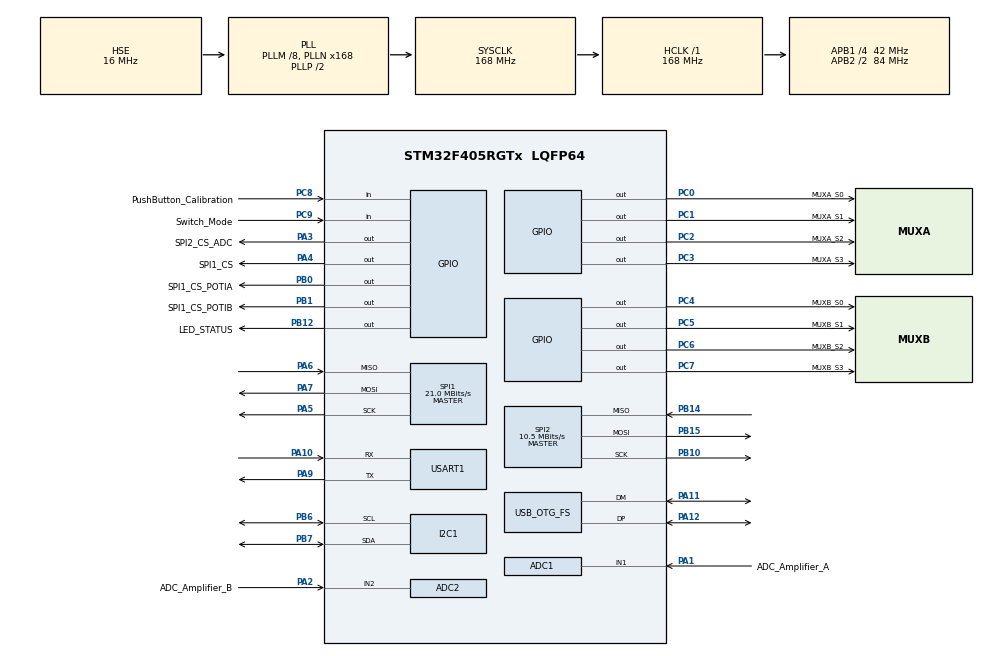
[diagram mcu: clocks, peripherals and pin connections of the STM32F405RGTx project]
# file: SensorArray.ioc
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ADC1.Channel-0\#ChannelRegularConversion=ADC_CHANNEL_1
ADC1.ClockPrescaler=ADC_CLOCK_SYNC_PCLK_DIV4
ADC1.NbrOfConversionFlag=1
ADC1.Rank-0\#ChannelRegularConversion=1
ADC1.SamplingTime-0\#ChannelRegularConversion=ADC_SAMPLETIME_3CYCLES
ADC1.master=1
ADC2.Channel-0\#ChannelRegularConversion=ADC_CHANNEL_2
ADC2.ClockPrescaler=ADC_CLOCK_SYNC_PCLK_DIV4
ADC2.NbrOfConversionFlag=1
ADC2.Rank-0\#ChannelRegularConversion=1
ADC2.SamplingTime-0\#ChannelRegularConversion=ADC_SAMPLETIME_3CYCLES
Mcu.Family=STM32F4
Mcu.Name=STM32F405RGTx
Mcu.Package=LQFP64
NVIC.OTG_FS_IRQn=true\:0\:0\:false\:false\:true\:false\:true
NVIC.PriorityGroup=NVIC_PRIORITYGROUP_4
PA1.GPIO_Label=ADC_Amplifier_A
PA1.Signal=ADCx_IN1
PA10.Mode=Asynchronous
PA10.Signal=USART1_RX
PA11.GPIO_Mode=GPIO_MODE_AF_PP
PA11.GPIO_PuPd=GPIO_NOPULL
PA11.GPIO_Speed=GPIO_SPEED_FREQ_VERY_HIGH
PA11.Mode=Device_Only
PA11.Signal=USB_OTG_FS_DM
PA12.GPIO_Mode=GPIO_MODE_AF_PP
PA12.GPIO_PuPd=GPIO_NOPULL
PA12.GPIO_Speed=GPIO_SPEED_FREQ_VERY_HIGH
PA12.Mode=Device_Only
PA12.Signal=USB_OTG_FS_DP
PA13.Mode=Trace_Asynchronous_SW
PA13.Signal=SYS_JTMS-SWDIO
PA14.Mode=Trace_Asynchronous_SW
PA14.Signal=SYS_JTCK-SWCLK
PA2.GPIO_Label=ADC_Amplifier_B
PA2.Signal=ADCx_IN2
PA3.GPIO_Label=SPI2_CS_ADC
PA3.Signal=GPIO_Output
PA4.GPIO_Label=SPI1_CS
PA4.Signal=GPIO_Output
PA5.GPIO_PuPd=GPIO_PULLDOWN
PA5.Mode=Full_Duplex_Master
PA5.Signal=SPI1_SCK
PA6.GPIO_PuPd=GPIO_PULLUP
PA6.Mode=Full_Duplex_Master
PA6.Signal=SPI1_MISO
PA7.Mode=Full_Duplex_Master
PA7.Signal=SPI1_MOSI
PA9.Mode=Asynchronous
PA9.Signal=USART1_TX
PB0.GPIO_Label=SPI1_CS_POTIA
PB0.Signal=GPIO_Output
PB1.GPIO_Label=SPI1_CS_POTIB
PB1.Signal=GPIO_Output
PB10.GPIO_PuPd=GPIO_NOPULL
PB10.Mode=Full_Duplex_Master
PB10.Signal=SPI2_SCK
PB12.GPIO_Label=LED_STATUS
PB12.Signal=GPIO_Output
PB14.Mode=Full_Duplex_Master
PB14.Signal=SPI2_MISO
PB15.Mode=Full_Duplex_Master
PB15.Signal=SPI2_MOSI
PB3.Mode=Trace_Asynchronous_SW
PB3.Signal=SYS_JTDO-SWO
PB6.Mode=I2C
PB6.Signal=I2C1_SCL
PB7.Mode=I2C
PB7.Signal=I2C1_SDA
PC0.GPIO_Label=MUXA_S0
PC0.PinState=GPIO_PIN_RESET
PC0.Signal=GPIO_Output
PC1.GPIO_Label=MUXA_S1
PC1.Signal=GPIO_Output
PC2.GPIO_Label=MUXA_S2
PC2.Signal=GPIO_Output
PC3.GPIO_Label=MUXA_S3
PC3.Signal=GPIO_Output
PC4.GPIO_Label=MUXB_S0
PC4.Signal=GPIO_Output
PC5.GPIO_Label=MUXB_S1
PC5.Signal=GPIO_Output
PC6.GPIO_Label=MUXB_S2
PC6.Signal=GPIO_Output
PC7.GPIO_Label=MUXB_S3
PC7.Signal=GPIO_Output
PC8.GPIO_Label=PushButton_Calibration
PC8.Signal=GPIO_Input
PC9.GPIO_Label=Switch_Mode
PC9.Signal=GPIO_Input
PH0-OSC_IN.Mode=HSE-External-Oscillator
PH0-OSC_IN.Signal=RCC_OSC_IN
PH1-OSC_OUT.Mode=HSE-External-Oscillator
PH1-OSC_OUT.Signal=RCC_OSC_OUT
ProjectManager.HeapSize=0x200
ProjectManager.StackSize=0x400
ProjectManager.TargetToolchain=STM32CubeIDE
RCC.48MHZClocksFreq_Value=48000000
RCC.AHBFreq_Value=168000000
RCC.APB1CLKDivider=RCC_HCLK_DIV4
RCC.APB1Freq_Value=42000000
RCC.APB1TimFreq_Value=84000000
RCC.APB2CLKDivider=RCC_HCLK_DIV2
RCC.APB2Freq_Value=84000000
RCC.APB2TimFreq_Value=168000000
RCC.CortexFreq_Value=168000000
RCC.HCLKFreq_Value=168000000
RCC.HSE_VALUE=16000000
RCC.HSI_VALUE=16000000
RCC.LSE_VALUE=32768
RCC.PLLM=8
RCC.PLLN=168
RCC.PLLQ=7
RCC.SYSCLKFreq_VALUE=168000000
RCC.SYSCLKSource=RCC_SYSCLKSOURCE_PLLCLK
RCC.VCOOutputFreq_Value=336000000
SH.ADCx_IN1.0=ADC1_IN1,IN1
SH.ADCx_IN2.0=ADC2_IN2,IN2
SPI1.BaudRatePrescaler=SPI_BAUDRATEPRESCALER_4
SPI1.CLKPhase=SPI_PHASE_2EDGE
SPI1.CLKPolarity=SPI_POLARITY_LOW
SPI1.CalculateBaudRate=21.0 MBits/s
SPI1.DataSize=SPI_DATASIZE_8BIT
SPI1.Direction=SPI_DIRECTION_2LINES
SPI1.Mode=SPI_MODE_MASTER
SPI1.VirtualType=VM_MASTER
SPI2.BaudRatePrescaler=SPI_BAUDRATEPRESCALER_4
SPI2.CalculateBaudRate=10.5 MBits/s
SPI2.Direction=SPI_DIRECTION_2LINES
SPI2.Mode=SPI_MODE_MASTER
SPI2.VirtualType=VM_MASTER
USART1.VirtualMode=VM_ASYNC
USB_DEVICE.CLASS_NAME_FS=CDC
USB_DEVICE.VirtualMode-CDC_FS=Cdc
USB_DEVICE.VirtualModeFS=Cdc_FS
USB_OTG_FS.VirtualMode=Device_Only
VP_USB_DEVICE_VS_USB_DEVICE_CDC_FS.Mode=CDC_FS
board=custom

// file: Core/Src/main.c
/* USER CODE BEGIN Header */
/**						IMSAS, Minerva Vargas
 ******************************************************************************
 * @file           : main.c
 * @brief          : Hair Sensor Array Measurement Board
 ******************************************************************************
 * @attention
 *
 * Measurement board for an array of 9 artificial hair flow sensors, each one with
 * two half Wheatstone bridges (Channel A and B). The sensors outputs are connected
 * to a multiplexer (CD74HC4067), compared with the Vout of a digital potentiometer
 * and amplified. The amplified output is read with an ADC (MCP3561), the measurements
 * are sent to an STM32F405 microcontroller.
 *
 * This software component is licensed by ST under BSD 3-Clause license,
 * the "License"; You may not use this file except in compliance with the
 * License. You may obtain a copy of the License at:
 *                        opensource.org/licenses/BSD-3-Clause
 *
 ******************************************************************************
 */
/* USER CODE END Header */
#include "main.h"
#include "usb_device.h"

/* USER CODE BEGIN Includes */
#include "CD74HC4067.h"		// Multiplexer
#include "ADC.h"			// ADC
#include "AD5270.h"			// Digital potentiometer
#include "calibration.h"
#include "command.h"
#include "math.h"
#include "usbd_cdc_if.h"
#include "string.h"
/* USER CODE END Includes */

ADC_HandleTypeDef hadc1;
ADC_HandleTypeDef hadc2;

I2C_HandleTypeDef hi2c1;

SPI_HandleTypeDef hspi1;
SPI_HandleTypeDef hspi2;

UART_HandleTypeDef huart1;

/* USER CODE BEGIN PV */
usb_buffer usb_data;
/* USER CODE END PV */

void SystemClock_Config(void);
static void MX_GPIO_Init(void);
static void MX_I2C1_Init(void);
static void MX_SPI1_Init(void);
static void MX_ADC1_Init(void);
static void MX_ADC2_Init(void);
static void MX_USART1_UART_Init(void);
static void MX_SPI2_Init(void);

/* USER CODE BEGIN 0 */
/////////////////////////// Global Variables //////////////////////////////////
//uint8_t POTIA[2] = {0x07, 0xff};
// ADC Values
//uint8_t cmd_ADC[2];
uint8_t ADC_RX_buffer[3];
int raw_ADC;
int i;

// Read sensors
float Sensor_values_A[10];
float Sensor_values_B[10];
/////////////////////////// end Global Variables //////////////////////////////////
/* USER CODE END 0 */

int main(void)
{
  /* USER CODE BEGIN 1 */
	// Variable definition
	//uint8_t UART_Data[25] = "Test UART communication :";

  /* USER CODE END 1 */

  /* MCU Configuration--------------------------------------------------------*/

  /* Reset of all peripherals, Initializes the Flash interface and the Systick. */
  HAL_Init();

  /* Configure the system clock */
  SystemClock_Config();

  /* USER CODE BEGIN SysInit */
	HAL_Delay(1000);
  /* USER CODE END SysInit */

  /* Initialize all configured peripherals */
  MX_GPIO_Init();
  MX_I2C1_Init();
  MX_SPI1_Init();
  MX_ADC1_Init();
  MX_ADC2_Init();
  MX_USART1_UART_Init();
  MX_SPI2_Init();
  MX_USB_DEVICE_Init();
  /* USER CODE BEGIN 2 */
	HAL_Delay(2000);
	mux_channel(0);  // Select mux channel (for both mux)
	HAL_Delay(200);

	// Configure ADC
	config_ADC(0x0D,0xA5); // Lock register: Write access is allowed on the full register map
	config_ADC(0x01,0xE3); // Conversion mode
	config_ADC(0x02,0x0C); // Oversampling rate
	config_ADC(0x04,0xC0); // Configure conversion and gain
	config_ADC(0x05,0x04); // Configure IRQ register, only a test
	config_ADC(0x06,ADC_A_Select); // Select ADC A
	config_ADC2(0x07); // Scan register

	HAL_Delay(100);

  /* USER CODE END 2 */

  /* Infinite loop */
  /* USER CODE BEGIN WHILE */
	while (1)
	{
		// Start SPI communication with Digital Poti (AD5270) SPI1_CS_POTIA_Pin
		Poti_SPI_Init(&hspi1); // Initialize digital potentiometer
		HAL_Delay(20);
		calibrate_potis(&hspi1);

		// Mode single sensor
		if (HAL_GPIO_ReadPin(GPIOC, Switch_Mode_Pin)){
			HAL_GPIO_WritePin(GPIOB, LED_STATUS_Pin, GPIO_PIN_SET);
			read_single_sensor();
		}
		// Mode sensor array
		else{
			HAL_GPIO_WritePin(GPIOB, LED_STATUS_Pin, GPIO_PIN_RESET);
			read_sensor_array();
		}
		// Check if a new command came over USB
		if(usb_data.new_data == 1)
		{
			decode_command(&usb_data.data[0]);
			usb_data_reset();
		}
		HAL_Delay(20);

		// Send test message UART
		/*HAL_UART_Transmit(&huart1, UART_Data,25,20); // Handle_type, data, length, timeout
		HAL_Delay(200);
		HAL_UART_Transmit(&huart1, ADC_RX_buffer, 3, 20);
		//HAL_Delay(10);
		//HAL_UART_Transmit(&huart1, Data,11,20); // Handle_type, data, length, timeout */

	}

    /* USER CODE END WHILE */

}

void SystemClock_Config(void)
{
  RCC_OscInitTypeDef RCC_OscInitStruct = {0};
  RCC_ClkInitTypeDef RCC_ClkInitStruct = {0};

  /** Configure the main internal regulator output voltage
  */
  __HAL_RCC_PWR_CLK_ENABLE();
  __HAL_PWR_VOLTAGESCALING_CONFIG(PWR_REGULATOR_VOLTAGE_SCALE1);
  /** Initializes the RCC Oscillators according to the specified parameters
  * in the RCC_OscInitTypeDef structure.
  */
  RCC_OscInitStruct.OscillatorType = RCC_OSCILLATORTYPE_HSE;
  RCC_OscInitStruct.HSEState = RCC_HSE_ON;
  RCC_OscInitStruct.PLL.PLLState = RCC_PLL_ON;
  RCC_OscInitStruct.PLL.PLLSource = RCC_PLLSOURCE_HSE;
  RCC_OscInitStruct.PLL.PLLM = 8;
  RCC_OscInitStruct.PLL.PLLN = 168;
  RCC_OscInitStruct.PLL.PLLP = RCC_PLLP_DIV2;
  RCC_OscInitStruct.PLL.PLLQ = 7;
  if (HAL_RCC_OscConfig(&RCC_OscInitStruct) != HAL_OK)
  {
    Error_Handler();
  }
  /** Initializes the CPU, AHB and APB buses clocks
  */
  RCC_ClkInitStruct.ClockType = RCC_CLOCKTYPE_HCLK|RCC_CLOCKTYPE_SYSCLK
                              |RCC_CLOCKTYPE_PCLK1|RCC_CLOCKTYPE_PCLK2;
  RCC_ClkInitStruct.SYSCLKSource = RCC_SYSCLKSOURCE_PLLCLK;
  RCC_ClkInitStruct.AHBCLKDivider = RCC_SYSCLK_DIV1;
  RCC_ClkInitStruct.APB1CLKDivider = RCC_HCLK_DIV4;
  RCC_ClkInitStruct.APB2CLKDivider = RCC_HCLK_DIV2;

  if (HAL_RCC_ClockConfig(&RCC_ClkInitStruct, FLASH_LATENCY_5) != HAL_OK)
  {
    Error_Handler();
  }
}

static void MX_ADC1_Init(void)
{

  ADC_ChannelConfTypeDef sConfig = {0};

  /** Configure the global features of the ADC (Clock, Resolution, Data Alignment and number of conversion)
  */
  hadc1.Instance = ADC1;
  hadc1.Init.ClockPrescaler = ADC_CLOCK_SYNC_PCLK_DIV4;
  hadc1.Init.Resolution = ADC_RESOLUTION_12B;
  hadc1.Init.ScanConvMode = DISABLE;
  hadc1.Init.ContinuousConvMode = DISABLE;
  hadc1.Init.DiscontinuousConvMode = DISABLE;
  hadc1.Init.ExternalTrigConvEdge = ADC_EXTERNALTRIGCONVEDGE_NONE;
  hadc1.Init.ExternalTrigConv = ADC_SOFTWARE_START;
  hadc1.Init.DataAlign = ADC_DATAALIGN_RIGHT;
  hadc1.Init.NbrOfConversion = 1;
  hadc1.Init.DMAContinuousRequests = DISABLE;
  hadc1.Init.EOCSelection = ADC_EOC_SINGLE_CONV;
  if (HAL_ADC_Init(&hadc1) != HAL_OK)
  {
    Error_Handler();
  }
  /** Configure for the selected ADC regular channel its corresponding rank in the sequencer and its sample time.
  */
  sConfig.Channel = ADC_CHANNEL_1;
  sConfig.Rank = 1;
  sConfig.SamplingTime = ADC_SAMPLETIME_3CYCLES;
  if (HAL_ADC_ConfigChannel(&hadc1, &sConfig) != HAL_OK)
  {
    Error_Handler();
  }

}

static void MX_ADC2_Init(void)
{

  ADC_ChannelConfTypeDef sConfig = {0};

  /** Configure the global features of the ADC (Clock, Resolution, Data Alignment and number of conversion)
  */
  hadc2.Instance = ADC2;
  hadc2.Init.ClockPrescaler = ADC_CLOCK_SYNC_PCLK_DIV4;
  hadc2.Init.Resolution = ADC_RESOLUTION_12B;
  hadc2.Init.ScanConvMode = DISABLE;
  hadc2.Init.ContinuousConvMode = DISABLE;
  hadc2.Init.DiscontinuousConvMode = DISABLE;
  hadc2.Init.ExternalTrigConvEdge = ADC_EXTERNALTRIGCONVEDGE_NONE;
  hadc2.Init.ExternalTrigConv = ADC_SOFTWARE_START;
  hadc2.Init.DataAlign = ADC_DATAALIGN_RIGHT;
  hadc2.Init.NbrOfConversion = 1;
  hadc2.Init.DMAContinuousRequests = DISABLE;
  hadc2.Init.EOCSelection = ADC_EOC_SINGLE_CONV;
  if (HAL_ADC_Init(&hadc2) != HAL_OK)
  {
    Error_Handler();
  }
  /** Configure for the selected ADC regular channel its corresponding rank in the sequencer and its sample time.
  */
  sConfig.Channel = ADC_CHANNEL_2;
  sConfig.Rank = 1;
  sConfig.SamplingTime = ADC_SAMPLETIME_3CYCLES;
  if (HAL_ADC_ConfigChannel(&hadc2, &sConfig) != HAL_OK)
  {
    Error_Handler();
  }

}

static void MX_I2C1_Init(void)
{

  hi2c1.Instance = I2C1;
  hi2c1.Init.ClockSpeed = 100000;
  hi2c1.Init.DutyCycle = I2C_DUTYCYCLE_2;
  hi2c1.Init.OwnAddress1 = 0;
  hi2c1.Init.AddressingMode = I2C_ADDRESSINGMODE_7BIT;
  hi2c1.Init.DualAddressMode = I2C_DUALADDRESS_DISABLE;
  hi2c1.Init.OwnAddress2 = 0;
  hi2c1.Init.GeneralCallMode = I2C_GENERALCALL_DISABLE;
  hi2c1.Init.NoStretchMode = I2C_NOSTRETCH_DISABLE;
  if (HAL_I2C_Init(&hi2c1) != HAL_OK)
  {
    Error_Handler();
  }

}

static void MX_SPI1_Init(void)
{

  /* SPI1 parameter configuration*/
  hspi1.Instance = SPI1;
  hspi1.Init.Mode = SPI_MODE_MASTER;
  hspi1.Init.Direction = SPI_DIRECTION_2LINES;
  hspi1.Init.DataSize = SPI_DATASIZE_8BIT;
  hspi1.Init.CLKPolarity = SPI_POLARITY_LOW;
  hspi1.Init.CLKPhase = SPI_PHASE_2EDGE;
  hspi1.Init.NSS = SPI_NSS_SOFT;
  hspi1.Init.BaudRatePrescaler = SPI_BAUDRATEPRESCALER_4;
  hspi1.Init.FirstBit = SPI_FIRSTBIT_MSB;
  hspi1.Init.TIMode = SPI_TIMODE_DISABLE;
  hspi1.Init.CRCCalculation = SPI_CRCCALCULATION_DISABLE;
  hspi1.Init.CRCPolynomial = 10;
  if (HAL_SPI_Init(&hspi1) != HAL_OK)
  {
    Error_Handler();
  }

}

static void MX_SPI2_Init(void)
{

  /* SPI2 parameter configuration*/
  hspi2.Instance = SPI2;
  hspi2.Init.Mode = SPI_MODE_MASTER;
  hspi2.Init.Direction = SPI_DIRECTION_2LINES;
  hspi2.Init.DataSize = SPI_DATASIZE_8BIT;
  hspi2.Init.CLKPolarity = SPI_POLARITY_LOW;
  hspi2.Init.CLKPhase = SPI_PHASE_1EDGE;
  hspi2.Init.NSS = SPI_NSS_SOFT;
  hspi2.Init.BaudRatePrescaler = SPI_BAUDRATEPRESCALER_4;
  hspi2.Init.FirstBit = SPI_FIRSTBIT_MSB;
  hspi2.Init.TIMode = SPI_TIMODE_DISABLE;
  hspi2.Init.CRCCalculation = SPI_CRCCALCULATION_DISABLE;
  hspi2.Init.CRCPolynomial = 10;
  if (HAL_SPI_Init(&hspi2) != HAL_OK)
  {
    Error_Handler();
  }

}

static void MX_USART1_UART_Init(void)
{

  huart1.Instance = USART1;
  huart1.Init.BaudRate = 115200;
  huart1.Init.WordLength = UART_WORDLENGTH_8B;
  huart1.Init.StopBits = UART_STOPBITS_1;
  huart1.Init.Parity = UART_PARITY_NONE;
  huart1.Init.Mode = UART_MODE_TX_RX;
  huart1.Init.HwFlowCtl = UART_HWCONTROL_NONE;
  huart1.Init.OverSampling = UART_OVERSAMPLING_16;
  if (HAL_UART_Init(&huart1) != HAL_OK)
  {
    Error_Handler();
  }

}

static void MX_GPIO_Init(void)
{
  GPIO_InitTypeDef GPIO_InitStruct = {0};

  /* GPIO Ports Clock Enable */
  __HAL_RCC_GPIOH_CLK_ENABLE();
  __HAL_RCC_GPIOC_CLK_ENABLE();
  __HAL_RCC_GPIOA_CLK_ENABLE();
  __HAL_RCC_GPIOB_CLK_ENABLE();

  /*Configure GPIO pin Output Level */
  HAL_GPIO_WritePin(GPIOC, MUXA_S0_Pin|MUXA_S1_Pin|MUXA_S2_Pin|MUXA_S3_Pin
                          |MUXB_S0_Pin|MUXB_S1_Pin|MUXB_S2_Pin|MUXB_S3_Pin, GPIO_PIN_RESET);

  /*Configure GPIO pin Output Level */
  HAL_GPIO_WritePin(GPIOA, SPI2_CS_ADC_Pin|SPI1_CS_Pin, GPIO_PIN_RESET);

  /*Configure GPIO pin Output Level */
  HAL_GPIO_WritePin(GPIOB, SPI1_CS_POTIA_Pin|SPI1_CS_POTIB_Pin|LED_STATUS_Pin, GPIO_PIN_RESET);

  /*Configure GPIO pins : MUXA_S0_Pin MUXA_S1_Pin MUXA_S2_Pin MUXA_S3_Pin
                           MUXB_S0_Pin MUXB_S1_Pin MUXB_S2_Pin MUXB_S3_Pin */
  GPIO_InitStruct.Pin = MUXA_S0_Pin|MUXA_S1_Pin|MUXA_S2_Pin|MUXA_S3_Pin
                          |MUXB_S0_Pin|MUXB_S1_Pin|MUXB_S2_Pin|MUXB_S3_Pin;
  GPIO_InitStruct.Mode = GPIO_MODE_OUTPUT_PP;
  GPIO_InitStruct.Pull = GPIO_NOPULL;
  GPIO_InitStruct.Speed = GPIO_SPEED_FREQ_LOW;
  HAL_GPIO_Init(GPIOC, &GPIO_InitStruct);

  /*Configure GPIO pins : SPI2_CS_ADC_Pin SPI1_CS_Pin */
  GPIO_InitStruct.Pin = SPI2_CS_ADC_Pin|SPI1_CS_Pin;
  GPIO_InitStruct.Mode = GPIO_MODE_OUTPUT_PP;
  GPIO_InitStruct.Pull = GPIO_NOPULL;
  GPIO_InitStruct.Speed = GPIO_SPEED_FREQ_LOW;
  HAL_GPIO_Init(GPIOA, &GPIO_InitStruct);

  /*Configure GPIO pins : SPI1_CS_POTIA_Pin SPI1_CS_POTIB_Pin LED_STATUS_Pin */
  GPIO_InitStruct.Pin = SPI1_CS_POTIA_Pin|SPI1_CS_POTIB_Pin|LED_STATUS_Pin;
  GPIO_InitStruct.Mode = GPIO_MODE_OUTPUT_PP;
  GPIO_InitStruct.Pull = GPIO_NOPULL;
  GPIO_InitStruct.Speed = GPIO_SPEED_FREQ_LOW;
  HAL_GPIO_Init(GPIOB, &GPIO_InitStruct);

  /*Configure GPIO pins : PushButton_Calibration_Pin Switch_Mode_Pin */
  GPIO_InitStruct.Pin = PushButton_Calibration_Pin|Switch_Mode_Pin;
  GPIO_InitStruct.Mode = GPIO_MODE_INPUT;
  GPIO_InitStruct.Pull = GPIO_NOPULL;
  HAL_GPIO_Init(GPIOC, &GPIO_InitStruct);

}

/* USER CODE BEGIN 4 */

////////////////////////////////// Read sensor: Array or single sensor mode ///////////////////

void read_sensor_array(void){
	char usb_array_A[85] = "Array_A ";
	char usb_array_B[85] = "Array_B ";
	char values_A[75];
	char values_B[75];
	uint8_t *ADC_RX_buffer_pointer;
	int sensor;

	while(1){
		char *posA = values_A;

		// For channel A
		config_ADC(0x6, ADC_A_Select);
		//HAL_Delay(5);
		for (sensor=1; sensor <= 9; sensor++){
			// Set calibrated potentiometer values
			mux_channel(sensor);
			Poti_Set_RDAC(Potentiometer_values_A[sensor], 'A', &hspi1);

			//Read ADC
			ADC_RX_buffer_pointer = read_ADC(0x00);
			Sensor_values_A[sensor] = voltage_ADC(ADC_RX_buffer_pointer);

			// Save value as string array
			if (sensor<9)
				posA += sprintf(posA, "%.4f, ", Sensor_values_A[sensor]);
			else
				posA += sprintf(posA, "%.4f\n", Sensor_values_A[sensor]);
		}
		// Send array
		strcat(usb_array_A, values_A);
		CDC_Transmit_FS((uint8_t *) usb_array_A, strlen(usb_array_A));
		strcpy(usb_array_A, "Array_A "); // Reset string value

		// For channel B
		char *posB = values_B;
		config_ADC(0x6, ADC_B_Select);
		//HAL_Delay(5);
		for (sensor=1; sensor <= 9; sensor++){
			// Set calibrated potentiometer values
			mux_channel(sensor);
			Poti_Set_RDAC(Potentiometer_values_B[sensor], 'B', &hspi1);

			//Read ADC (average 6 readings)
			ADC_RX_buffer_pointer = read_ADC(0x00);
			Sensor_values_B[sensor] = voltage_ADC(ADC_RX_buffer_pointer);

			// Save value as string array
			if (sensor<9)
				posB += sprintf(posB, "%.4f, ", Sensor_values_B[sensor]);
			else
				posB += sprintf(posB, "%.4f\n", Sensor_values_B[sensor]);
		}
		// Send array B
		strcat(usb_array_B, values_B);
		CDC_Transmit_FS((uint8_t *) usb_array_B, strlen(usb_array_B));
		strcpy(usb_array_B, "Array_B "); // Reset string value

		//Switch between single sensor and array mode
		if ((HAL_GPIO_ReadPin(GPIOC, Switch_Mode_Pin)) != 0){
				break;}

		// Check if a new command came over USB
		if(usb_data.new_data == 1)
		{
			decode_command(&usb_data.data[0]);
			usb_data_reset();
		}
	}
}

void read_single_sensor(){
	char usb_msg_A[10] = "SA ";
	char usb_msg_B[10] = "SB ";
	char txBuf[8];
	float measured_voltage;
	uint8_t *ADC_RX_buffer_pointer;

	mux_channel(0);
	Poti_Set_RDAC(Potentiometer_values_A[0], 'A', &hspi1);
	Poti_Set_RDAC(Potentiometer_values_B[0], 'B', &hspi1);

	while(1){
		//Read ADC value A and send via USB
		config_ADC(0x6, ADC_A_Select);
		HAL_Delay(2);
		ADC_RX_buffer_pointer = read_ADC(0x00);
		measured_voltage = voltage_ADC(ADC_RX_buffer_pointer);

		sprintf(txBuf, "%.4f\n", measured_voltage);
		strcat(usb_msg_A, txBuf);
		CDC_Transmit_FS((uint8_t *) usb_msg_A, strlen(usb_msg_A));

		strcpy(usb_msg_A, "SA "); // Reset string value

		//Read ADC value B
		config_ADC(0x6, ADC_B_Select);
		HAL_Delay(2);
		ADC_RX_buffer_pointer = read_ADC(0x00);
		measured_voltage = voltage_ADC(ADC_RX_buffer_pointer);

		sprintf(txBuf, "%.4f\n", measured_voltage);
		strcat(usb_msg_B, txBuf);
		CDC_Transmit_FS((uint8_t *) usb_msg_B, strlen(usb_msg_B));

		strcpy(usb_msg_B, "SB "); // Reset string value

		if ((HAL_GPIO_ReadPin(GPIOC, Switch_Mode_Pin)) != 1){
			break; }

		// Check if calibration button was pressed
		if ((HAL_GPIO_ReadPin(GPIOC, PushButton_Calibration_Pin)) != 1){
			calibrate_potis(&hspi1); }

		// Check if a new command came over USB   PushButton_Calibration_Pin
		if(usb_data.new_data == 1)
		{
			decode_command(&usb_data.data[0]);
			usb_data_reset();
		}

	}
}
//////////////////////////////////  End Read: Array or single sensor mode ///////////////////

////////////////////////////////// Command over USB ///////////////////
void CDC_ReceiveCallBack(uint8_t *buf, uint32_t len)
{
	memcpy(usb_data.data, buf, len);
	usb_data.new_data = 1;
	usb_data.length = len;
}

uint8_t usb_data_reset(void)
{
	uint32_t i = 0;

	for(i = 0; i<MAX_USB_BUFFER_LENGTH; i++)
	{
		usb_data.data[i] = 0;
	}
	usb_data.new_data = 0;
	return 1;
}
////////////////////////////////// END Command over USB ///////////////////

/* USER CODE END 4 */

void Error_Handler(void)
{
}

/************************ (C) COPYRIGHT STMicroelectronics *****END OF FILE****/
